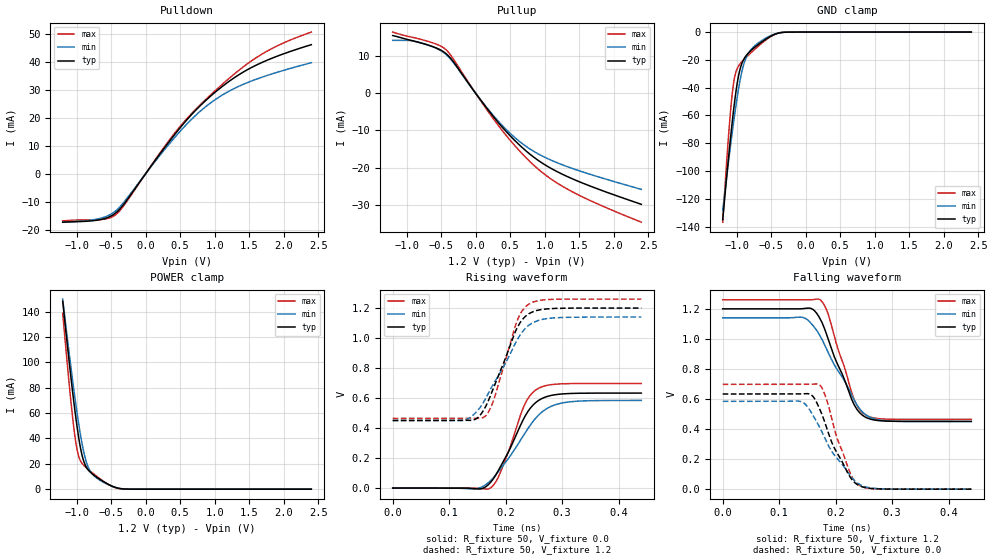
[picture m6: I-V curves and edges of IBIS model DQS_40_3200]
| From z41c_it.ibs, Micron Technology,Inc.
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| MODEL DQS_40_3200 (40 Ohm Data Strobe I/O with no ODT, 1600-3200Mbps)
[Model]   DQS_40_3200
Model_type   I/O
Vinl = 905.000mV
Vinh = 1015.000mV
Vmeas = 960.000mV
Vref = 1200.000mV
Cref = 0.0pF
Rref = 50.000Ohm
|   typ   min   max
|C_comp   0.690pF   0.640pF   0.740pF
C_comp_pullup   0.345pF   0.320pF   0.370pF
C_comp_pulldown   0.345pF   0.320pF   0.370pF
[Model Spec]
| Timing spec test load voltage corners
Vref   1.2000V   1.1400V   1.2600V
| Dynamic Overshoot Parameters from DDR4 Specification
|D_overshoot_ampl_h   0.40   NA   NA
|D_overshoot_ampl_l   0.40   NA   NA
|D_overshoot_area_h   0.0800n   NA   NA
|D_overshoot_area_l   0.0800n   NA   NA
[Voltage Range]   1.2000V   1.1400V   1.2600V
| Junction Temperature (Ambient temp is 35C typ, 95C min, -40C max)
[Temperature Range]   50.0   110.0   -40.0
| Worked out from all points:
|   slope of the pulldown table from 0 to 0.18 V, typ, clamps not added: 29.1 ohm
|   slope of the pullup table from 0 to 0.18 V, typ, clamps not added: 40.4 ohm
|   GND clamp passes 1 mA (typ) near -0.41 V on its own axis
|   POWER clamp passes 1 mA (typ) near -0.41 V on its own axis
|   rising waveform, R_fixture 50, V_fixture 0.0: 20-80 % time 50.3ps typ, 64.8ps min, 39.4ps max; typ from 0 V to 0.633 V
|   rising waveform, R_fixture 50, V_fixture 1.2: 20-80 % time 46.7ps typ, 59.4ps min, 37ps max; typ from 0.451 V to 1.2 V
|   falling waveform, R_fixture 50, V_fixture 1.2: 20-80 % time 46ps typ, 58.5ps min, 38.3ps max; typ from 1.2 V to 0.451 V
|   falling waveform, R_fixture 50, V_fixture 0.0: 20-80 % time 44.2ps typ, 57.3ps min, 35.4ps max; typ from 0.633 V to 0 V
[Pulldown]
|   Voltage   I(typ)   I(min)   I(max)
-1.2V     -17.36mA   -17.24mA   -16.87mA
-684mV    -16.56mA   -16.14mA   -16.47mA
-540mV    -15.59mA   -14.98mA   -15.99mA
-435mV    -14.07mA   -13.33mA   -14.71mA
-303mV    -10.52mA   -9.847mA   -11.01mA
438mV     14.58mA    13.47mA    15.1mA
693mV     21.93mA    20.18mA    22.26mA
933mV     27.65mA    25.24mA    28.06mA
1.311V    34.86mA    30.89mA    36.28mA
1.653V    39.53mA    34.33mA    42.41mA
1.983V    42.86mA    36.95mA    46.73mA
2.4V      46.27mA    39.81mA    50.79mA
[GND Clamp]
|   Voltage   I(typ)   I(min)   I(max)
-1.2V     -135.1mA   -128.5mA   -136.8mA
-1.14V    -102.9mA   -103.2mA   -91.52mA
-1.095V   -80.19mA   -85mA      -61.76mA
-1.059V   -63.36mA   -71.08mA   -43.1mA
-1.023V   -48.31mA   -57.94mA   -31.48mA
-957mV    -28.33mA   -37.01mA   -23.41mA
-909mV    -20.99mA   -25.69mA   -20.56mA
-867mV    -17.4mA    -19.14mA   -18.47mA
-771mV    -12.39mA   -11.6mA    -13.99mA
-594mV    -5.729mA   -4.845mA   -6.403mA
-312mV    -158uA     -141.7uA   -96.12uA
2.4V      0A         0A         0A
[Pullup]
|   Voltage   I(typ)   I(min)   I(max)
-1.2V     15.45mA    14.15mA    16.38mA
-849mV    13.74mA    13.78mA    14.68mA
-600mV    12.34mA    12.29mA    13.36mA
-435mV    10.7mA     10.48mA    11.76mA
-321mV    8.421mA    8.194mA    9.126mA
57mV      -1.439mA   -1.383mA   -1.563mA
342mV     -8.171mA   -7.777mA   -8.957mA
591mV     -13.1mA    -12.25mA   -14.54mA
846mV     -17.19mA   -15.63mA   -19.36mA
1.089V    -20.11mA   -17.92mA   -22.96mA
1.386V    -22.82mA   -20.07mA   -26.28mA
2.4V      -29.79mA   -25.78mA   -34.58mA
[POWER Clamp]
|   Voltage   I(typ)   I(min)   I(max)
-1.2V     148.2mA    149.9mA    138.8mA
-1.122V   108.2mA    114.2mA    91.91mA
-1.068V   82.04mA    90.64mA    62.35mA
-1.023V   61.8mA     72.06mA    41.67mA
-987mV    47.29mA    58.16mA    29.88mA
-924mV    27.68mA    37mA       20.7mA
-867mV    18.32mA    23.06mA    17.34mA
-798mV    13.3mA     13.95mA    14.12mA
-711mV    9.576mA    8.914mA    10.32mA
-504mV    2.857mA    2.651mA    2.691mA
-330mV    236.9uA    273.9uA    105.3uA
2.4V      0A         0A         0A
[Ramp]
|   typ   min   max
| 20% - 80%
dV/dt_r   379.92m/50.25p   350.57m/64.78p   418.48m/39.41p
dV/dt_f   449.42m/46.01p   414.17m/58.50p   477.39m/38.26p
| Slew rate: Power terminated
|SR_r[V/ns]   9.64   6.97   12.89
|SR_f[V/ns]   9.77   7.08   12.48
| 25% - 75%
|dV/dt_r   316.60m/40.67p   292.14m/52.57p   348.73m/31.86p
|dV/dt_f   374.51m/38.73p   345.14m/49.32p   397.83m/32.04p
| Slew rate: Power terminated
|SR_r[V/ns]   9.70   6.98   13.06
|SR_f[V/ns]   9.67   7.00   12.42
R_load = 50
[Rising Waveform]
R_fixture = 50
V_fixture = 0.0
|   Time   V(typ)   V(min)   V(max)
0s        7.649uV    16.82uV    580.6nV
145ps     -4.448mV   -6.346mV   146.9uV
171ps     29.24mV    41.78mV    -3.76mV
181ps     78.49mV    81mV       32.92mV
190ps     137.7mV    123.6mV    98.82mV
234ps     477.3mV    365.8mV    560mV
254ps     572.9mV    470mV      655.9mV
276ps     613.4mV    536.6mV    686.8mV
305ps     628.8mV    570.6mV    695.7mV
440ps     633.2mV    584.3mV    697.5mV
[Rising Waveform]
R_fixture   = 50
V_fixture   = 1.2
V_fixture_min = 1.14
V_fixture_max = 1.26
|   Time   V(typ)   V(min)   V(max)
0s        451mV      449.7mV    464.3mV
127ps     450.5mV    453.1mV    464.4mV
148ps     462.6mV    507mV      463.9mV
164ps     540.1mV    594mV      479.5mV
179ps     674.8mV    699.3mV    590.1mV
220ps     1.066V     985.5mV    1.113V
229ps     1.121V     1.039V     1.181V
244ps     1.168V     1.093V     1.233V
290ps     1.198V     1.136V     1.259V
440ps     1.2V       1.14V      1.26V
[Falling Waveform]
R_fixture   = 50
V_fixture   = 1.2
V_fixture_min = 1.14
V_fixture_max = 1.26
|   Time   V(typ)   V(min)   V(max)
0s        1.2V       1.14V      1.26V
140ps     1.201V     1.144V     1.26V
156ps     1.203V     1.106V     1.26V
171ps     1.143V     1.029V     1.263V
186ps     1.006V     914.6mV    1.172V
203ps     832.9mV    793.2mV    944.7mV
232ps     567.2mV    598.2mV    602.5mV
249ps     487.5mV    507.8mV    504mV
290ps     452.9mV    454.6mV    465.9mV
440ps     451mV      449.7mV    464.3mV
[Falling Waveform]
R_fixture = 50
V_fixture = 0.0
|   Time   V(typ)   V(min)   V(max)
0s        633.2mV    584.3mV    697.5mV
138ps     634.2mV    583.2mV    697.4mV
157ps     626.8mV    508.9mV    698.2mV
171ps     538.7mV    416.1mV    695.6mV
182ps     430.7mV    328.8mV    616.5mV
195ps     294.5mV    240.5mV    439mV
225ps     84.17mV    94.34mV    113.4mV
234ps     42.48mV    54.87mV    52.03mV
246ps     16.68mV    24.72mV    17.71mV
440ps     7.65uV     17.14uV    588.8nV
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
